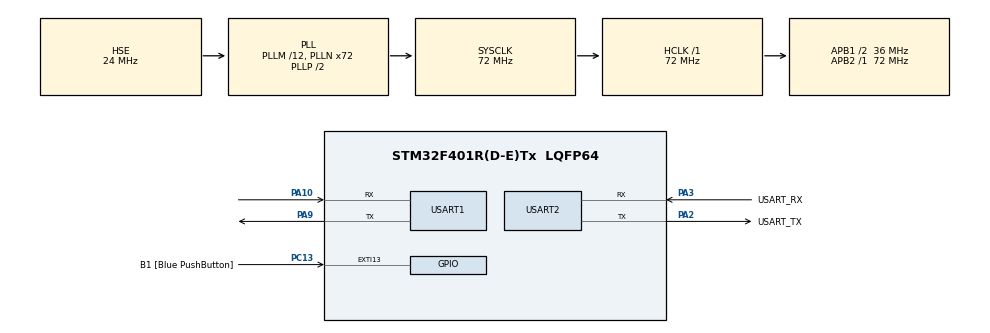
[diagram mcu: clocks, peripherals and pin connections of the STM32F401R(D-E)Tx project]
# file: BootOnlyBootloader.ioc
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Mcu.Family=STM32F4
Mcu.Name=STM32F401R(D-E)Tx
Mcu.Package=LQFP64
NVIC.PriorityGroup=NVIC_PRIORITYGROUP_4
PA10.Mode=Asynchronous
PA10.Signal=USART1_RX
PA13.GPIO_Label=TMS
PA13.Mode=Serial_Wire
PA13.Signal=SYS_JTMS-SWDIO
PA14.GPIO_Label=TCK
PA14.Mode=Serial_Wire
PA14.Signal=SYS_JTCK-SWCLK
PA2.GPIO_Label=USART_TX
PA2.GPIO_Mode=GPIO_MODE_AF_PP
PA2.GPIO_PuPd=GPIO_NOPULL
PA2.GPIO_Speed=GPIO_SPEED_FREQ_LOW
PA2.Mode=Asynchronous
PA2.Signal=USART2_TX
PA3.GPIO_Label=USART_RX
PA3.GPIO_Mode=GPIO_MODE_AF_PP
PA3.GPIO_PuPd=GPIO_NOPULL
PA3.GPIO_Speed=GPIO_SPEED_FREQ_LOW
PA3.Mode=Asynchronous
PA3.Signal=USART2_RX
PA9.Mode=Asynchronous
PA9.Signal=USART1_TX
PB3.GPIO_Label=SWO
PB3.Signal=SYS_JTDO-SWO
PC13-ANTI_TAMP.GPIO_Label=B1 [Blue PushButton]
PC13-ANTI_TAMP.GPIO_ModeDefaultEXTI=GPIO_MODE_IT_FALLING
PC13-ANTI_TAMP.GPIO_PuPd=GPIO_NOPULL
PC13-ANTI_TAMP.Signal=GPXTI13
PC14-OSC32_IN.Mode=LSE-External-Oscillator
PC14-OSC32_IN.Signal=RCC_OSC32_IN
PC15-OSC32_OUT.Mode=LSE-External-Oscillator
PC15-OSC32_OUT.Signal=RCC_OSC32_OUT
PH0\ -\ OSC_IN.Mode=HSE-External-Oscillator
PH0\ -\ OSC_IN.Signal=RCC_OSC_IN
PH1\ -\ OSC_OUT.Mode=HSE-External-Oscillator
PH1\ -\ OSC_OUT.Signal=RCC_OSC_OUT
ProjectManager.HeapSize=0x600
ProjectManager.StackSize=0x400
ProjectManager.TargetToolchain=STM32CubeIDE
RCC.48MHZClocksFreq_Value=20571428.57142857
RCC.AHBFreq_Value=72000000
RCC.APB1CLKDivider=RCC_HCLK_DIV2
RCC.APB1Freq_Value=36000000
RCC.APB1TimFreq_Value=72000000
RCC.APB2Freq_Value=72000000
RCC.APB2TimFreq_Value=72000000
RCC.CortexFreq_Value=72000000
RCC.HCLKFreq_Value=72000000
RCC.HSE_VALUE=24000000
RCC.HSI_VALUE=16000000
RCC.PLLM=12
RCC.PLLN=72
RCC.PLLQ=7
RCC.PLLSourceVirtual=RCC_PLLSOURCE_HSE
RCC.SYSCLKFreq_VALUE=72000000
RCC.SYSCLKSource=RCC_SYSCLKSOURCE_PLLCLK
RCC.VCOOutputFreq_Value=144000000
USART1.VirtualMode=VM_ASYNC
USART2.VirtualMode=VM_ASYNC
board=NUCLEO-F401RE

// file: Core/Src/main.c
/* USER CODE BEGIN Header */
/**
  ******************************************************************************
  * @file           : main.c
  * @brief          : Main program body - Boot-only bootloader
  ******************************************************************************
  * @attention
  *
  * Copyright (c) 2026 STMicroelectronics.
  * All rights reserved.
  *
  * This software is licensed under terms that can be found in the LICENSE file
  * in the root directory of this software component.
  * If no LICENSE file comes with this software, it is provided AS-IS.
  *
  ******************************************************************************
  */
/* USER CODE END Header */
#include "main.h"

/* USER CODE BEGIN Includes */
#include <string.h>
#include <stdio.h>
#include <stdbool.h>
#include "stm32f4xx_hal_flash.h"
#include "stm32f4xx_hal_flash_ex.h"
/* USER CODE END Includes */

/* USER CODE BEGIN PTD */

/* Bootloader metadata structure - 8-byte aligned */
typedef struct __attribute__((packed, aligned(8))) {
  char magic[8];           /* 0xdeadbeefcafebabe */
  char inverted_magic[8];  /* 0x2152411035014542 */
  char app_name[8];        /* Application name */
  char version[8];         /* Version string */
  uint8_t dest_address[4]; /* Destination flash sector address, little-endian */
  uint8_t size[4];         /* Application size including metadata, little-endian */
  char validation[8];      /* 0xffffffff00000000 */
  char invalidation[8];    /* 0x00ffffffffffffff */
  uint8_t  sha256[32];     /* SHA256 of sector from start to this field */
} AppMetadata_t;

/* USER CODE END PTD */

/* USER CODE BEGIN PD */

/* Bootloader debug output - set to 1 to enable diagnostic messages via USART1 */
#ifndef BOOTLOADER_DEBUG_ENABLE
#define BOOTLOADER_DEBUG_ENABLE  0
#endif

/* STM32F401RE flash sector addresses (sectors 1-7, sector 0 = bootloader) */
#define FLASH_BASE             0x08000000UL
#define APP_METADATA_MAGIC     "\xde\xad\xbe\xef\xca\xfe\xba\xbe"
#define APP_METADATA_INV_MAGIC "\x21\x52\x41\x10\x35\x01\x45\x42"
#define APP_METADATA_VALID     "\xff\xff\xff\xff\x00\x00\x00\x00"
#define APP_METADATA_INVALID   "\x00\x00\x00\x00\xff\xff\xff\xff"
#define APP_METADATA_FIELD_LEN 8

/* Sector start addresses and sizes for STM32F401RE */
static const struct {
  uint32_t start;
  uint32_t size;
} SECTOR_INFO[] = {
  { 0x08004000UL, 16*1024 },   /* Sector 1: 16KB */
  { 0x08008000UL, 16*1024 },   /* Sector 2: 16KB */
  { 0x0800C000UL, 16*1024 },   /* Sector 3: 16KB */
  { 0x08010000UL, 64*1024 },   /* Sector 4: 64KB */
  { 0x08020000UL, 128*1024 },  /* Sector 5: 128KB */
  { 0x08040000UL, 128*1024 },  /* Sector 6: 128KB */
  { 0x08060000UL, 128*1024 },  /* Sector 7: 128KB */
};

#define NUM_APP_SECTORS (sizeof(SECTOR_INFO)/sizeof(SECTOR_INFO[0]))

#define SECTOR_6_INDEX  5   /* SECTOR_INFO index for flash sector 6 */
#define STAGING_SECTOR_START  (SECTOR_INFO[SECTOR_6_INDEX].start)
#define STAGING_SECTOR_SIZE   (SECTOR_INFO[SECTOR_6_INDEX].size)

/* USER CODE END PD */

UART_HandleTypeDef huart1;
UART_HandleTypeDef huart2;

void SystemClock_Config(void);
static void MX_GPIO_Init(void);
static void MX_USART2_UART_Init(void);
static void MX_USART1_UART_Init(void);
/* USER CODE BEGIN PFP */

static void sha256_compute(const uint8_t *data, uint32_t len, uint8_t *digest);
static int bootloader_try_launch_app(void);
static void bootloader_jump_to_app(uint32_t app_base);
static int bootloader_handle_staging(void);

/* USER CODE END PFP */

/* USER CODE BEGIN 0 */

/*
 * Minimal SHA-256 implementation for bootloader digest verification.
 * Public domain, based on FIPS 180-2.
 */
static void sha256_compute(const uint8_t *data, uint32_t total_len, uint8_t *digest)
{
  static const uint32_t K[64] = {
    0x428a2f98,0x71374491,0xb5c0fbcf,0xe9b5dba5,0x3956c25b,0x59f111f1,0x923f82a4,0xab1c5ed5,
    0xd807aa98,0x12835b01,0x243185be,0x550c7dc3,0x72be5d74,0x80deb1fe,0x9bdc06a7,0xc19bf174,
    0xe49b69c1,0xefbe4786,0x0fc19dc6,0x240ca1cc,0x2de92c6f,0x4a7484aa,0x5cb0a9dc,0x76f988da,
    0x983e5152,0xa831c66d,0xb00327c8,0xbf597fc7,0xc6e00bf3,0xd5a79147,0x06ca6351,0x14292967,
    0x27b70a85,0x2e1b2138,0x4d2c6dfc,0x53380d13,0x650a7354,0x766a0abb,0x81c2c92e,0x92722c85,
    0xa2bfe8a1,0xa81a664b,0xc24b8b70,0xc76c51a3,0xd192e819,0xd6990624,0xf40e3585,0x106aa070,
    0x19a4c116,0x1e376c08,0x2748774c,0x34b0bcb5,0x391c0cb3,0x4ed8aa4a,0x5b9cca4f,0x682e6ff3,
    0x748f82ee,0x78a5636f,0x84c87814,0x8cc70208,0x90befffa,0xa4506ceb,0xbef9a3f7,0xc67178f2,
  };

  uint32_t H[8] = {
    0x6a09e667, 0xbb67ae85, 0x3c6ef372, 0xa54ff53a,
    0x510e527f, 0x9b05688c, 0x1f83d9ab, 0x5be0cd19,
  };

  uint32_t W[64];
  uint32_t a, b, c, d, e, f, g, h, T1, T2;
  uint32_t j;
  uint32_t len = total_len;

  /* Process full 512-bit blocks */
  while (len >= 64) {
    for (j = 0; j < 16; j++) {
      W[j] = ((uint32_t)data[0]<<24) | ((uint32_t)data[1]<<16) |
             ((uint32_t)data[2]<<8) | (uint32_t)data[3];
      data += 4;
    }
    for (j = 16; j < 64; j++) {
      uint32_t s0 = ((W[j-15]>>7)|(W[j-15]<<25)) ^ ((W[j-15]>>18)|(W[j-15]<<14)) ^ (W[j-15]>>3);
      uint32_t s1 = ((W[j-2]>>17)|(W[j-2]<<15)) ^ ((W[j-2]>>19)|(W[j-2]<<13)) ^ (W[j-2]>>10);
      W[j] = W[j-16] + s0 + W[j-7] + s1;
    }
    a = H[0]; b = H[1]; c = H[2]; d = H[3];
    e = H[4]; f = H[5]; g = H[6]; h = H[7];
    for (j = 0; j < 64; j++) {
      uint32_t S1 = ((e>>6)|(e<<26)) ^ ((e>>11)|(e<<21)) ^ ((e>>25)|(e<<7));
      uint32_t ch = (e & f) ^ ((~e) & g);
      T1 = h + S1 + ch + K[j] + W[j];
      uint32_t S0 = ((a>>2)|(a<<30)) ^ ((a>>13)|(a<<19)) ^ ((a>>22)|(a<<10));
      uint32_t maj = (a & b) ^ (a & c) ^ (b & c);
      T2 = S0 + maj;
      h = g; g = f; f = e; e = d + T1; d = c; c = b; b = a; a = T1 + T2;
    }
    H[0] += a; H[1] += b; H[2] += c; H[3] += d;
    H[4] += e; H[5] += f; H[6] += g; H[7] += h;
    len -= 64;
  }

  /* Final block with padding */
  uint8_t block[64];
  uint32_t i;
  for (i = 0; i < len; i++) block[i] = data[i];
  block[len++] = 0x80;
  if (len > 56) {
    while (len < 64) block[len++] = 0;
    for (j = 0; j < 16; j++) {
      W[j] = ((uint32_t)block[j*4]<<24) | ((uint32_t)block[j*4+1]<<16) |
             ((uint32_t)block[j*4+2]<<8) | (uint32_t)block[j*4+3];
    }
    for (j = 16; j < 64; j++) {
      uint32_t s0 = ((W[j-15]>>7)|(W[j-15]<<25)) ^ ((W[j-15]>>18)|(W[j-15]<<14)) ^ (W[j-15]>>3);
      uint32_t s1 = ((W[j-2]>>17)|(W[j-2]<<15)) ^ ((W[j-2]>>19)|(W[j-2]<<13)) ^ (W[j-2]>>10);
      W[j] = W[j-16] + s0 + W[j-7] + s1;
    }
    a = H[0]; b = H[1]; c = H[2]; d = H[3];
    e = H[4]; f = H[5]; g = H[6]; h = H[7];
    for (j = 0; j < 64; j++) {
      uint32_t S1 = ((e>>6)|(e<<26)) ^ ((e>>11)|(e<<21)) ^ ((e>>25)|(e<<7));
      uint32_t ch = (e & f) ^ ((~e) & g);
      T1 = h + S1 + ch + K[j] + W[j];
      uint32_t S0 = ((a>>2)|(a<<30)) ^ ((a>>13)|(a<<19)) ^ ((a>>22)|(a<<10));
      uint32_t maj = (a & b) ^ (a & c) ^ (b & c);
      T2 = S0 + maj;
      h = g; g = f; f = e; e = d + T1; d = c; c = b; b = a; a = T1 + T2;
    }
    H[0] += a; H[1] += b; H[2] += c; H[3] += d;
    H[4] += e; H[5] += f; H[6] += g; H[7] += h;
    len = 0;
  }
  while (len < 56) block[len++] = 0;
  /* Append length in bits, big-endian */
  {
    uint64_t bitlen = (uint64_t)total_len * 8;
    for (i = 0; i < 8; i++) block[63 - i] = (uint8_t)(bitlen >> (i * 8));
  }
  for (j = 0; j < 16; j++) {
    W[j] = ((uint32_t)block[j*4]<<24) | ((uint32_t)block[j*4+1]<<16) |
           ((uint32_t)block[j*4+2]<<8) | (uint32_t)block[j*4+3];
  }
  for (j = 16; j < 64; j++) {
    uint32_t s0 = ((W[j-15]>>7)|(W[j-15]<<25)) ^ ((W[j-15]>>18)|(W[j-15]<<14)) ^ (W[j-15]>>3);
    uint32_t s1 = ((W[j-2]>>17)|(W[j-2]<<15)) ^ ((W[j-2]>>19)|(W[j-2]<<13)) ^ (W[j-2]>>10);
    W[j] = W[j-16] + s0 + W[j-7] + s1;
  }
  a = H[0]; b = H[1]; c = H[2]; d = H[3];
  e = H[4]; f = H[5]; g = H[6]; h = H[7];
  for (j = 0; j < 64; j++) {
    uint32_t S1 = ((e>>6)|(e<<26)) ^ ((e>>11)|(e<<21)) ^ ((e>>25)|(e<<7));
    uint32_t ch = (e & f) ^ ((~e) & g);
    T1 = h + S1 + ch + K[j] + W[j];
    uint32_t S0 = ((a>>2)|(a<<30)) ^ ((a>>13)|(a<<19)) ^ ((a>>22)|(a<<10));
    uint32_t maj = (a & b) ^ (a & c) ^ (b & c);
    T2 = S0 + maj;
    h = g; g = f; f = e; e = d + T1; d = c; c = b; b = a; a = T1 + T2;
  }
  H[0] += a; H[1] += b; H[2] += c; H[3] += d;
  H[4] += e; H[5] += f; H[6] += g; H[7] += h;

  for (j = 0; j < 8; j++) {
    digest[j*4 + 0] = (uint8_t)(H[j] >> 24);
    digest[j*4 + 1] = (uint8_t)(H[j] >> 16);
    digest[j*4 + 2] = (uint8_t)(H[j] >> 8);
    digest[j*4 + 3] = (uint8_t)(H[j]);
  }
}

/* Map flash address to sector number for STM32F401RE */
static uint32_t flash_addr_to_sector(uint32_t addr)
{
  if (addr < 0x08004000UL) return FLASH_SECTOR_0;
  if (addr < 0x08008000UL) return FLASH_SECTOR_1;
  if (addr < 0x0800C000UL) return FLASH_SECTOR_2;
  if (addr < 0x08010000UL) return FLASH_SECTOR_3;
  if (addr < 0x08020000UL) return FLASH_SECTOR_4;
  if (addr < 0x08040000UL) return FLASH_SECTOR_5;
  if (addr < 0x08060000UL) return FLASH_SECTOR_6;
  return FLASH_SECTOR_7;
}

/* Check sector 6 for staging metadata; if found, copy app to destination, update validation, erase sector 6, reboot. */
/* Returns 1 if staging was handled (never returns - reboots), 0 if no staging metadata found. */
static int bootloader_handle_staging(void)
{
  const uint8_t *sector6 = (const uint8_t *)STAGING_SECTOR_START;

  /* Search sector 6 for metadata with magic and inverted_magic only */
#if BOOTLOADER_DEBUG_ENABLE
  {
    char dbg_msg[128];
    int len = sprintf(dbg_msg, "Checking sector starting at %p\r\n", sector6);
    HAL_UART_Transmit(&huart1, (uint8_t*)dbg_msg, len, 1000);
  }
#endif

  for (uint32_t offset = 0; offset + sizeof(AppMetadata_t) <= STAGING_SECTOR_SIZE; offset += 8) {
    const AppMetadata_t *meta = (const AppMetadata_t *)(sector6 + offset);

    if (memcmp(meta->magic, APP_METADATA_MAGIC, APP_METADATA_FIELD_LEN) != 0) continue;

#if BOOTLOADER_DEBUG_ENABLE
  {
    char dbg_msg[128];
    int len = sprintf(dbg_msg, "Magic number found at %p\r\n", meta->magic);
    HAL_UART_Transmit(&huart1, (uint8_t*)dbg_msg, len, 1000);
  }
#endif

    if (memcmp(meta->inverted_magic, APP_METADATA_INV_MAGIC, APP_METADATA_FIELD_LEN) != 0) continue;

#if BOOTLOADER_DEBUG_ENABLE
  {
    char dbg_msg[128];
    int len = sprintf(dbg_msg, "Inverted Magic number found at %p\r\n", meta->inverted_magic);
    HAL_UART_Transmit(&huart1, (uint8_t*)dbg_msg, len, 1000);
  }
#endif

    /* Staging metadata found - extract dest_address and size (little-endian) */
    uint32_t dest_addr = (uint32_t)meta->dest_address[0] | ((uint32_t)meta->dest_address[1] << 8) |
                         ((uint32_t)meta->dest_address[2] << 16) | ((uint32_t)meta->dest_address[3] << 24);
    uint32_t app_size = (uint32_t)meta->size[0] | ((uint32_t)meta->size[1] << 8) |
                        ((uint32_t)meta->size[2] << 16) | ((uint32_t)meta->size[3] << 24);

#if BOOTLOADER_DEBUG_ENABLE
  {
    char dbg_msg[128];
    int len = sprintf(dbg_msg, "Destination %p size %lu\r\n", (void*) dest_addr, app_size);
    HAL_UART_Transmit(&huart1, (uint8_t*)dbg_msg, len, 1000);
  }
#endif

    /* Validate destination is within app sectors (1-7) and not sector 6 (source) */
    if (dest_addr < 0x08004000UL || dest_addr > 0x0807FFFFUL) continue;
    if (dest_addr >= 0x08040000UL && dest_addr < 0x08060000UL) continue;  /* reject sector 6 */
    if (app_size == 0 || app_size > STAGING_SECTOR_SIZE) continue;

    /* Erase destination sector */
    uint32_t sector_num = flash_addr_to_sector(dest_addr);

    #if BOOTLOADER_DEBUG_ENABLE
	{
		char dbg_msg[128];
		int len = sprintf(dbg_msg, "Erasing destination (sector %lu)\r\n", sector_num);
		HAL_UART_Transmit(&huart1, (uint8_t*)dbg_msg, len, 1000);
	}
#endif

    /* Erase destination sector */
    FLASH_EraseInitTypeDef erase = {
      .TypeErase = FLASH_TYPEERASE_SECTORS,
      .Banks = FLASH_BANK_1,
      .Sector = sector_num,
      .NbSectors = 1,
      .VoltageRange = FLASH_VOLTAGE_RANGE_3,
    };
    uint32_t sector_error;

    HAL_FLASH_Unlock();

    /* Clear any pending error flags before erase */
    __HAL_FLASH_CLEAR_FLAG(FLASH_FLAG_EOP | FLASH_FLAG_OPERR | FLASH_FLAG_WRPERR |
                           FLASH_FLAG_PGAERR | FLASH_FLAG_PGPERR | FLASH_FLAG_PGSERR);

    /* Ensure flash is not busy before erase */
    while (__HAL_FLASH_GET_FLAG(FLASH_FLAG_BSY) != RESET) {
      /* Wait for any pending flash operations to complete */
    }

    if (HAL_FLASHEx_Erase(&erase, &sector_error) != HAL_OK) {
      HAL_FLASH_Lock();
#if BOOTLOADER_DEBUG_ENABLE
  {
    char dbg_msg[128];
    uint32_t error = HAL_FLASH_GetError();
    int len = sprintf(dbg_msg, "Erasing destination FAILED: error=0x%08lX, sector_error=0x%08lX\r\n",
                      (unsigned long)error, (unsigned long)sector_error);
    HAL_UART_Transmit(&huart1, (uint8_t*)dbg_msg, len, 1000);
  }
#endif
      continue;
    }

    /* Verify erase completed and flash is ready */
    uint32_t erase_timeout = 100000;
    while (__HAL_FLASH_GET_FLAG(FLASH_FLAG_BSY) != RESET && erase_timeout--) {
      /* Wait for erase to complete */
    }

    /* Clear ALL error flags after erase */
    __HAL_FLASH_CLEAR_FLAG(FLASH_FLAG_EOP | FLASH_FLAG_OPERR | FLASH_FLAG_WRPERR |
                           FLASH_FLAG_PGAERR | FLASH_FLAG_PGPERR | FLASH_FLAG_PGSERR);

    /* Clear PG bit if it's set */
    CLEAR_BIT(FLASH->CR, FLASH_CR_PG);

    /* Wait for everything to settle */
    __DSB();
    volatile uint32_t settle_delay = 100;
    while (settle_delay--) { __NOP(); }

    /* Verify flash is unlocked and ready */
    if (READ_BIT(FLASH->CR, FLASH_CR_LOCK) != RESET) {
      /* Flash got locked somehow - unlock it again */
      HAL_FLASH_Unlock();
    }

    /* Verify erase was successful by checking first few bytes are 0xFF */
    const uint32_t *verify_addr = (const uint32_t *)dest_addr;
    if (verify_addr[0] != 0xFFFFFFFF || verify_addr[1] != 0xFFFFFFFF) {
      HAL_FLASH_Lock();
#if BOOTLOADER_DEBUG_ENABLE
  {
    char dbg_msg[128];
    int len = sprintf(dbg_msg, "Erase verification FAILED: 0x%08lX 0x%08lX (expected 0xFFFFFFFF)\r\n",
                      (unsigned long)verify_addr[0], (unsigned long)verify_addr[1]);
    HAL_UART_Transmit(&huart1, (uint8_t*)dbg_msg, len, 1000);
  }
#endif
      continue;
    }

#if BOOTLOADER_DEBUG_ENABLE
  {
    char dbg_msg[128];
    int len = sprintf(dbg_msg, "Erase completed and verified, flash ready, CR=0x%08lX, SR=0x%08lX\r\n",
                      (unsigned long)FLASH->CR, (unsigned long)FLASH->SR);
    HAL_UART_Transmit(&huart1, (uint8_t*)dbg_msg, len, 1000);
  }
#endif

#if BOOTLOADER_DEBUG_ENABLE
  {
    char dbg_msg[128];
    int len = sprintf(dbg_msg, "Copying found application to destination\r\n");
    HAL_UART_Transmit(&huart1, (uint8_t*)dbg_msg, len, 1000);
  }
#endif

    /* Copy application from sector 6 to destination (8 bytes at a time for doubleword alignment) */
    /* Ensure destination address is 8-byte aligned for doubleword programming */
    if ((dest_addr & 7) != 0) {
      HAL_FLASH_Lock();
#if BOOTLOADER_DEBUG_ENABLE
  {
    char dbg_msg[128];
    int len = sprintf(dbg_msg, "Destination address not 8-byte aligned: %p\r\n", (void*)dest_addr);
    HAL_UART_Transmit(&huart1, (uint8_t*)dbg_msg, len, 1000);
  }
#endif
      continue;
    }

    /* Disable instruction cache and prefetch buffer to prevent read-while-write conflicts.
       The cache and prefetch can cause the first flash program operation to fail if
       they're trying to read cached/prefetched data while programming. */
    __HAL_FLASH_INSTRUCTION_CACHE_DISABLE();
    __HAL_FLASH_INSTRUCTION_CACHE_RESET();
    __HAL_FLASH_PREFETCH_BUFFER_DISABLE();
    __DSB(); /* Ensure cache operations complete before proceeding */
    __ISB(); /* Ensure instruction pipeline is flushed */

    /* Ensure flash is still unlocked before starting */
    if (READ_BIT(FLASH->CR, FLASH_CR_LOCK) != RESET) {
      HAL_FLASH_Unlock();
    }

    /* Aggressively clear flash controller state before starting programming */
    /* Wait for BSY to clear */
    uint32_t ready_timeout = 100000;
    while (__HAL_FLASH_GET_FLAG(FLASH_FLAG_BSY) != RESET && ready_timeout--) {
      /* Wait for any pending flash operations to complete */
    }

    /* Clear PG bit */
    CLEAR_BIT(FLASH->CR, FLASH_CR_PG);

    /* Clear ALL error flags */
    __HAL_FLASH_CLEAR_FLAG(FLASH_FLAG_EOP | FLASH_FLAG_OPERR | FLASH_FLAG_WRPERR |
                           FLASH_FLAG_PGAERR | FLASH_FLAG_PGPERR | FLASH_FLAG_PGSERR);

    /* Wait for everything to settle */
    __DSB();
    __ISB();
    volatile uint32_t delay = 200;
    while (delay--) { __NOP(); }

    /* Verify flash is in clean state */
    if (__HAL_FLASH_GET_FLAG(FLASH_FLAG_BSY) != RESET ||
        READ_BIT(FLASH->CR, FLASH_CR_PG) != RESET) {
#if BOOTLOADER_DEBUG_ENABLE
      {
        char dbg_msg[128];
        int len = sprintf(dbg_msg, "ERROR: Flash not in clean state before copy: CR=0x%08lX, SR=0x%08lX\r\n",
                          (unsigned long)FLASH->CR, (unsigned long)FLASH->SR);
        HAL_UART_Transmit(&huart1, (uint8_t*)dbg_msg, len, 1000);
      }
#endif
      HAL_FLASH_Lock();
      continue;
    }

    /* Copy source data from flash to RAM buffer in chunks to avoid read-while-write conflicts.
       The STM32F4 flash controller may not handle simultaneous read and write operations
       even when they target different sectors. Reading from flash while programming
       flash can cause the first program operation to fail. We use a 4096-byte buffer
       and process the copy in chunks to avoid using too much RAM.
       Use static to avoid stack overflow issues. */
    #define COPY_CHUNK_SIZE 4096
    static uint8_t ram_buffer[COPY_CHUNK_SIZE];

    /* Destination must be 4-byte aligned for WORD programming on STM32F401 */
    if ((dest_addr & 3) != 0) {
#if BOOTLOADER_DEBUG_ENABLE
      {
        char dbg_msg[128];
        int len = sprintf(dbg_msg, "ERROR: Destination address 0x%08lX is not 4-byte aligned\r\n",
                          (unsigned long)dest_addr);
        HAL_UART_Transmit(&huart1, (uint8_t*)dbg_msg, len, 1000);
      }
#endif
      HAL_FLASH_Lock();
      continue;
    }

#if BOOTLOADER_DEBUG_ENABLE
  {
    char dbg_msg[128];
    int len = sprintf(dbg_msg, "Starting copy: dest=0x%08lX, size=%lu, flash CR=0x%08lX\r\n",
                      (unsigned long)dest_addr, (unsigned long)app_size, (unsigned long)FLASH->CR);
    HAL_UART_Transmit(&huart1, (uint8_t*)dbg_msg, len, 1000);
  }
#endif

    uint32_t dst = dest_addr;
    int copy_ok = true;

    /* Process the copy in chunks of up to 4096 bytes */
    for (uint32_t offset = 0; offset < app_size && copy_ok; offset += COPY_CHUNK_SIZE) {
      uint32_t chunk_size = (offset + COPY_CHUNK_SIZE <= app_size) ? COPY_CHUNK_SIZE : (app_size - offset);

      /* Copy chunk from flash to RAM buffer */
      memcpy(ram_buffer, sector6 + offset, chunk_size);
      __DSB(); /* Ensure memory copy completes before proceeding */

      /* Program this chunk from RAM buffer to flash destination using WORD writes */
      const uint8_t *src = ram_buffer;
      uint32_t full_words = chunk_size / 4U;
      uint32_t rem = chunk_size % 4U;

      for (uint32_t w = 0; w < full_words && copy_ok; w++) {
        uint32_t addr = dst + offset + (w * 4U);
        uint32_t data_word =
            ((uint32_t)src[w * 4U + 0U] << 0)  |
            ((uint32_t)src[w * 4U + 1U] << 8)  |
            ((uint32_t)src[w * 4U + 2U] << 16) |
            ((uint32_t)src[w * 4U + 3U] << 24);

#if BOOTLOADER_DEBUG_ENABLE
        if (offset == 0 && w == 0) {
          char dbg_msg[128];
          int len = sprintf(dbg_msg, "First word: addr=0x%08lX data=0x%08lX bytes=%02X%02X%02X%02X\r\n",
                            (unsigned long)addr, (unsigned long)data_word,
                            src[0], src[1], src[2], src[3]);
          HAL_UART_Transmit(&huart1, (uint8_t*)dbg_msg, len, 1000);
        }
#endif

        __disable_irq();
        HAL_SuspendTick();
        HAL_StatusTypeDef status = HAL_FLASH_Program(FLASH_TYPEPROGRAM_WORD, addr, data_word);
        HAL_ResumeTick();
        __enable_irq();

        if (status != HAL_OK) {
          copy_ok = false;
#if BOOTLOADER_DEBUG_ENABLE
          {
            char dbg_msg[160];
            uint32_t error = HAL_FLASH_GetError();
            uint32_t flash_sr = FLASH->SR;
            int len = sprintf(dbg_msg, "FLASH WORD Program FAILED: status=%d error=0x%08lX SR=0x%08lX addr=0x%08lX\r\n",
                              status, (unsigned long)error, (unsigned long)flash_sr, (unsigned long)addr);
            HAL_UART_Transmit(&huart1, (uint8_t*)dbg_msg, len, 1000);
          }
#endif
        }
      }

      /* Trailing bytes within this chunk */
      if (rem && copy_ok) {
        uint32_t tail_addr = dst + offset + (full_words * 4U);
        uint32_t base = full_words * 4U;

        if (rem >= 2U) {
          uint16_t half = (uint16_t)src[base + 0U] | ((uint16_t)src[base + 1U] << 8);
          __disable_irq();
          HAL_SuspendTick();
          HAL_StatusTypeDef status = HAL_FLASH_Program(FLASH_TYPEPROGRAM_HALFWORD, tail_addr, half);
          HAL_ResumeTick();
          __enable_irq();
          if (status != HAL_OK) copy_ok = false;
          tail_addr += 2U;
          base += 2U;
          rem -= 2U;
        }
        if (rem == 1U && copy_ok) {
          uint8_t b = src[base];
          __disable_irq();
          HAL_SuspendTick();
          HAL_StatusTypeDef status = HAL_FLASH_Program(FLASH_TYPEPROGRAM_BYTE, tail_addr, b);
          HAL_ResumeTick();
          __enable_irq();
          if (status != HAL_OK) copy_ok = false;
        }
      }
    }

    /* Re-enable instruction cache and prefetch buffer after programming */
    __DSB(); /* Ensure all flash operations complete before re-enabling cache */
    __HAL_FLASH_INSTRUCTION_CACHE_ENABLE();
    __HAL_FLASH_PREFETCH_BUFFER_ENABLE();

    if (!copy_ok) {
      HAL_FLASH_Lock();
#if BOOTLOADER_DEBUG_ENABLE
  {
    char dbg_msg[128];
    int len = sprintf(dbg_msg, "Copying application FAILED\r\n");
    HAL_UART_Transmit(&huart1, (uint8_t*)dbg_msg, len, 1000);
  }
#endif
      continue;
    }

#if BOOTLOADER_DEBUG_ENABLE
  {
    char dbg_msg[128];
    int len = sprintf(dbg_msg, "Setting validation flag to valid\r\n");
    HAL_UART_Transmit(&huart1, (uint8_t*)dbg_msg, len, 1000);
  }
#endif

    /* Rewrite validation flag at destination metadata.
       On STM32F401, use 32-bit WORD programming (avoid DOUBLEWORD). */
    uint32_t validation_addr = dest_addr + offset + (uint32_t)offsetof(AppMetadata_t, validation);
    if ((validation_addr & 3U) != 0U) {
      HAL_FLASH_Lock();
#if BOOTLOADER_DEBUG_ENABLE
      {
        char dbg_msg[128];
        int len = sprintf(dbg_msg, "Setting validation flag FAILED (addr not 4-byte aligned): 0x%08lX\r\n",
                          (unsigned long)validation_addr);
        HAL_UART_Transmit(&huart1, (uint8_t*)dbg_msg, len, 1000);
      }
#endif
      continue;
    }

    /* Desired bytes in flash: FF FF FF FF 00 00 00 00 */
    uint32_t validation_word0 = 0xFFFFFFFFU;
    uint32_t validation_word1 = 0x00000000U;

    __disable_irq();
    HAL_SuspendTick();
    HAL_StatusTypeDef v0 = HAL_FLASH_Program(FLASH_TYPEPROGRAM_WORD, validation_addr + 0U, validation_word0);
    HAL_StatusTypeDef v1 = HAL_OK;
    if (v0 == HAL_OK) {
      v1 = HAL_FLASH_Program(FLASH_TYPEPROGRAM_WORD, validation_addr + 4U, validation_word1);
    }
    HAL_ResumeTick();
    __enable_irq();

    if (v0 != HAL_OK || v1 != HAL_OK) {
      HAL_FLASH_Lock();

      #if BOOTLOADER_DEBUG_ENABLE
  {
    char dbg_msg[128];
    uint32_t error = HAL_FLASH_GetError();
    int len = sprintf(dbg_msg, "Setting validation flag FAILED (v0=%d v1=%d err=0x%08lX addr=0x%08lX)\r\n",
                      (int)v0, (int)v1, (unsigned long)error, (unsigned long)validation_addr);
    HAL_UART_Transmit(&huart1, (uint8_t*)dbg_msg, len, 1000);
  }
#endif

      continue;
    }

#if BOOTLOADER_DEBUG_ENABLE
  {
    char dbg_msg[128];
    int len = sprintf(dbg_msg, "Erasing staging sector %d\r\n", FLASH_SECTOR_6);
    HAL_UART_Transmit(&huart1, (uint8_t*)dbg_msg, len, 1000);
  }
#endif

    /* Erase sector 6 */
    FLASH_EraseInitTypeDef erase6 = {
      .TypeErase = FLASH_TYPEERASE_SECTORS,
      .Banks = FLASH_BANK_1,
      .Sector = FLASH_SECTOR_6,
      .NbSectors = 1,
      .VoltageRange = FLASH_VOLTAGE_RANGE_3,
    };
    if (HAL_FLASHEx_Erase(&erase6, &sector_error) != HAL_OK)
    {
#if BOOTLOADER_DEBUG_ENABLE
	  {
		char dbg_msg[128];
		int len = sprintf(dbg_msg, "Erasing staging sectoFAILED\r\n");
		HAL_UART_Transmit(&huart1, (uint8_t*)dbg_msg, len, 1000);
	  }
#endif
    }
    HAL_FLASH_Lock();

    /* Reboot */
    HAL_NVIC_SystemReset();
    /* never returns */
  }
  return 0;
}

/* Search for valid application and launch. Returns 1 if launched (never returns), 0 if not found. */
static int bootloader_try_launch_app(void)
{
  for (uint32_t s = 0; s < NUM_APP_SECTORS; s++) {
    const uint32_t sector_start = SECTOR_INFO[s].start;
    const uint32_t sector_size = SECTOR_INFO[s].size;
    const uint8_t *sector = (const uint8_t *)sector_start;

#if BOOTLOADER_DEBUG_ENABLE
  {
    char dbg_msg[128];
    int len = sprintf(dbg_msg, "Checking sector starting at %p\r\n", sector);
    HAL_UART_Transmit(&huart1, (uint8_t*)dbg_msg, len, 1000);
  }
#endif

    /* Search for metadata at 8-byte aligned offsets */
    for (uint32_t offset = 0; offset + sizeof(AppMetadata_t) <= sector_size; offset += 8) {
      const AppMetadata_t *meta = (const AppMetadata_t *)(sector + offset);

      if (memcmp(meta->magic, APP_METADATA_MAGIC, APP_METADATA_FIELD_LEN) != 0) continue;

#if BOOTLOADER_DEBUG_ENABLE
  {
    char dbg_msg[128];
    int len = sprintf(dbg_msg, "Magic number found at %p\r\n", meta->magic);
    HAL_UART_Transmit(&huart1, (uint8_t*)dbg_msg, len, 1000);
  }
#endif

      if (memcmp(meta->inverted_magic, APP_METADATA_INV_MAGIC, APP_METADATA_FIELD_LEN) != 0) continue;

#if BOOTLOADER_DEBUG_ENABLE
  {
    char dbg_msg[128];
    int len = sprintf(dbg_msg, "Inverted Magic number found at %p\r\n", meta->inverted_magic);
    HAL_UART_Transmit(&huart1, (uint8_t*)dbg_msg, len, 1000);
  }
#endif

      if (memcmp(meta->validation, APP_METADATA_VALID, APP_METADATA_FIELD_LEN) != 0) continue;

#if BOOTLOADER_DEBUG_ENABLE
  {
    char dbg_msg[128];
    int len = sprintf(dbg_msg, "Validation found at %p\r\n", meta->validation);
    HAL_UART_Transmit(&huart1, (uint8_t*)dbg_msg, len, 1000);
  }
#endif

      if (memcmp(meta->invalidation, APP_METADATA_INVALID, APP_METADATA_FIELD_LEN) != 0) continue;

#if BOOTLOADER_DEBUG_ENABLE
  {
    char dbg_msg[128];
    int len = sprintf(dbg_msg, "Invalidation found at %p\r\n", meta->invalidation);
    HAL_UART_Transmit(&huart1, (uint8_t*)dbg_msg, len, 1000);
  }
#endif

      /* Metadata found - verify SHA256: sector from start up to (but not including) digest field */
      uint32_t hash_len = offset + (uint32_t)offsetof(AppMetadata_t, sha256);
      uint8_t computed[32];
      sha256_compute(sector, hash_len, computed);

#if BOOTLOADER_DEBUG_ENABLE
  {
    char dbg_msg[128];
    int len = sprintf(dbg_msg, "Hash_len %lu\r\n", hash_len);
    HAL_UART_Transmit(&huart1, (uint8_t*)dbg_msg, len, 1000);
    len = sprintf(dbg_msg, "Computed hash ");
    for (int hash_byte = 0; hash_byte < 32; ++hash_byte)
    {
    	sprintf(dbg_msg + strlen(dbg_msg), "%02x", (uint8_t) computed[hash_byte]);
    }
    sprintf(dbg_msg + strlen(dbg_msg), "\r\n");
    HAL_UART_Transmit(&huart1, (uint8_t*)dbg_msg, strlen(dbg_msg), 1000);
    len = sprintf(dbg_msg, "Stored hash   ");
    for (int hash_byte = 0; hash_byte < 32; ++hash_byte)
    {
    	sprintf(dbg_msg + strlen(dbg_msg), "%02x", (uint8_t) meta->sha256[hash_byte]);
    }
    sprintf(dbg_msg + strlen(dbg_msg), "\r\n");
    HAL_UART_Transmit(&huart1, (uint8_t*)dbg_msg, strlen(dbg_msg), 1000);
  }
#endif

  int match = 1;
      for (int i = 0; i < 32; i++) {
        if (computed[i] != meta->sha256[i]) { match = 0; break; }
      }
      if (!match) continue;

      /* Valid application found - sector starts with Cortex-M4 vector table */
      bootloader_jump_to_app(sector_start);
      /* never returns */
    }
  }
  return 0;
}

static void bootloader_jump_to_app(uint32_t app_base)
{
  const uint32_t *vt = (const uint32_t *)app_base;
  uint32_t msp = vt[0];
  uint32_t reset_handler = vt[1];

  /* Diagnostic: Print vector table values before jump */
#if BOOTLOADER_DEBUG_ENABLE
  {
    char dbg_msg[128];
    int len = sprintf(dbg_msg, "Jump: base=0x%08lX, MSP=0x%08lX, Reset=0x%08lX\r\n",
                      (unsigned long)app_base, (unsigned long)msp, (unsigned long)reset_handler);
    HAL_UART_Transmit(&huart1, (uint8_t*)dbg_msg, len, 1000);
  }
#endif

  /* Validate vector table values */
  if (msp < 0x20000000 || msp > 0x20018000) {
#if BOOTLOADER_DEBUG_ENABLE
    {
      char dbg_msg[128];
      int len = sprintf(dbg_msg, "ERROR: Invalid MSP=0x%08lX\r\n", (unsigned long)msp);
      HAL_UART_Transmit(&huart1, (uint8_t*)dbg_msg, len, 1000);
    }
#endif
    return;
  }

  if ((reset_handler & 1) == 0) {
#if BOOTLOADER_DEBUG_ENABLE
    {
      char dbg_msg[128];
      int len = sprintf(dbg_msg, "ERROR: Reset handler missing thumb bit\r\n");
      HAL_UART_Transmit(&huart1, (uint8_t*)dbg_msg, len, 1000);
    }
#endif
    return;
  }

  /* Deinitialize peripherals before jumping to application */
  HAL_UART_DeInit(&huart1);
  HAL_UART_DeInit(&huart2);
  HAL_GPIO_DeInit(GPIOC, B1_Pin|GPIO_PIN_0|GPIO_PIN_1|GPIO_PIN_2|GPIO_PIN_3|GPIO_PIN_4|GPIO_PIN_5|
                        GPIO_PIN_6|GPIO_PIN_7|GPIO_PIN_8|GPIO_PIN_9|GPIO_PIN_10|GPIO_PIN_11|GPIO_PIN_12);
  HAL_GPIO_DeInit(GPIOA, GPIO_PIN_0|GPIO_PIN_1|GPIO_PIN_4|GPIO_PIN_5|GPIO_PIN_6|GPIO_PIN_7|
                        GPIO_PIN_8|GPIO_PIN_9|GPIO_PIN_10|GPIO_PIN_11|GPIO_PIN_12|GPIO_PIN_15);
  HAL_GPIO_DeInit(GPIOB, GPIO_PIN_0|GPIO_PIN_1|GPIO_PIN_2|GPIO_PIN_4|GPIO_PIN_5|GPIO_PIN_6|
                        GPIO_PIN_7|GPIO_PIN_8|GPIO_PIN_9|GPIO_PIN_10|GPIO_PIN_12|GPIO_PIN_13|
                        GPIO_PIN_14|GPIO_PIN_15);
  HAL_GPIO_DeInit(GPIOD, GPIO_PIN_2);

  /* Reset RCC to default state (HSI) so application can configure clocks cleanly */
  /* This prevents clock configuration conflicts when app tries to reconfigure */
  /* The bootloader has configured HSE+PLL, but well-monitor-2 needs to configure */
  /* its own clocks including LSE. Switching to HSI gives a clean starting state. */

#if BOOTLOADER_DEBUG_ENABLE
  {
    char dbg_msg[128];
    int len = sprintf(dbg_msg, "Resetting clocks to HSI...\r\n");
    HAL_UART_Transmit(&huart1, (uint8_t*)dbg_msg, len, 1000);
  }
#endif

  /* Ensure HSI is enabled (should be by default, but make sure) */
  __HAL_RCC_HSI_ENABLE();
  while(__HAL_RCC_GET_FLAG(RCC_FLAG_HSIRDY) == RESET) {}

  /* Switch system clock to HSI */
  __HAL_RCC_SYSCLK_CONFIG(RCC_SYSCLKSOURCE_HSI);
  while(__HAL_RCC_GET_SYSCLK_SOURCE() != RCC_SYSCLKSOURCE_STATUS_HSI) {}

  /* Now safe to disable PLL and HSE - system is running on HSI */
  __HAL_RCC_PLL_DISABLE();
  __HAL_RCC_HSE_CONFIG(RCC_HSE_OFF);

  /* Wait for HSE to be disabled */
  uint32_t tickstart = HAL_GetTick();
  while(__HAL_RCC_GET_FLAG(RCC_FLAG_HSERDY) != RESET) {
    if ((HAL_GetTick() - tickstart) > 1000) {  /* 1 second timeout */
      break;
    }
  }

  /* Set flash latency for HSI (16MHz) - latency 0 is sufficient */
  FLASH->ACR = (FLASH->ACR & ~FLASH_ACR_LATENCY) | FLASH_LATENCY_0;

#if BOOTLOADER_DEBUG_ENABLE
  {
    char dbg_msg[128];
    int len = sprintf(dbg_msg, "Clocks reset, jumping to app...\r\n");
    HAL_UART_Transmit(&huart1, (uint8_t*)dbg_msg, len, 1000);
  }
#endif

  /* Reset RCC to default state - this ensures clean clock state for application */
  /* HSI remains enabled as it's the default and app may need it during init */

  __disable_irq();
  __DSB();
  __ISB();

  SCB->VTOR = app_base;
  __set_MSP(msp);

  ((void (*)(void))reset_handler)();
}

/* USER CODE END 0 */

int main(void)
{

  /* MCU Configuration--------------------------------------------------------*/

  /* Reset of all peripherals, Initializes the Flash interface and the Systick. */
  HAL_Init();

  /* Configure the system clock */
  SystemClock_Config();

  /* Initialize all configured peripherals */
  MX_GPIO_Init();
  MX_USART2_UART_Init();
  MX_USART1_UART_Init();
  /* USER CODE BEGIN 2 */

  /* First check sector 6 for staging metadata; if found, copy to dest, erase sector 6, reboot */
  if (bootloader_handle_staging()) {
    /* Never returns - reboots */
  }

  /* Bootloader: search sectors 1-7 for application and launch */
  if (bootloader_try_launch_app()) {
    /* Never returns if app launched */
  }

  /* USER CODE END 2 */

  /* Infinite loop */
  while (1)
  {

  }
}

void SystemClock_Config(void)
{
  RCC_OscInitTypeDef RCC_OscInitStruct = {0};
  RCC_ClkInitTypeDef RCC_ClkInitStruct = {0};

  /** Configure the main internal regulator output voltage
  */
  __HAL_RCC_PWR_CLK_ENABLE();
  __HAL_PWR_VOLTAGESCALING_CONFIG(PWR_REGULATOR_VOLTAGE_SCALE2);

  /** Initializes the RCC Oscillators according to the specified parameters
  * in the RCC_OscInitTypeDef structure.
  */
  RCC_OscInitStruct.OscillatorType = RCC_OSCILLATORTYPE_HSE;
  RCC_OscInitStruct.HSEState = RCC_HSE_ON;
  RCC_OscInitStruct.PLL.PLLState = RCC_PLL_ON;
  RCC_OscInitStruct.PLL.PLLSource = RCC_PLLSOURCE_HSE;
  RCC_OscInitStruct.PLL.PLLM = 12;
  RCC_OscInitStruct.PLL.PLLN = 72;
  RCC_OscInitStruct.PLL.PLLP = RCC_PLLP_DIV2;
  RCC_OscInitStruct.PLL.PLLQ = 7;
  if (HAL_RCC_OscConfig(&RCC_OscInitStruct) != HAL_OK)
  {
    Error_Handler();
  }

  /** Initializes the CPU, AHB and APB buses clocks
  */
  RCC_ClkInitStruct.ClockType = RCC_CLOCKTYPE_HCLK|RCC_CLOCKTYPE_SYSCLK
                              |RCC_CLOCKTYPE_PCLK1|RCC_CLOCKTYPE_PCLK2;
  RCC_ClkInitStruct.SYSCLKSource = RCC_SYSCLKSOURCE_PLLCLK;
  RCC_ClkInitStruct.AHBCLKDivider = RCC_SYSCLK_DIV1;
  RCC_ClkInitStruct.APB1CLKDivider = RCC_HCLK_DIV2;
  RCC_ClkInitStruct.APB2CLKDivider = RCC_HCLK_DIV1;

  if (HAL_RCC_ClockConfig(&RCC_ClkInitStruct, FLASH_LATENCY_2) != HAL_OK)
  {
    Error_Handler();
  }
}

static void MX_USART1_UART_Init(void)
{

  huart1.Instance = USART1;
  huart1.Init.BaudRate = 115200;
  huart1.Init.WordLength = UART_WORDLENGTH_8B;
  huart1.Init.StopBits = UART_STOPBITS_1;
  huart1.Init.Parity = UART_PARITY_NONE;
  huart1.Init.Mode = UART_MODE_TX_RX;
  huart1.Init.HwFlowCtl = UART_HWCONTROL_NONE;
  huart1.Init.OverSampling = UART_OVERSAMPLING_16;
  if (HAL_UART_Init(&huart1) != HAL_OK)
  {
    Error_Handler();
  }

}

static void MX_USART2_UART_Init(void)
{

  huart2.Instance = USART2;
  huart2.Init.BaudRate = 115200;
  huart2.Init.WordLength = UART_WORDLENGTH_8B;
  huart2.Init.StopBits = UART_STOPBITS_1;
  huart2.Init.Parity = UART_PARITY_NONE;
  huart2.Init.Mode = UART_MODE_TX_RX;
  huart2.Init.HwFlowCtl = UART_HWCONTROL_NONE;
  huart2.Init.OverSampling = UART_OVERSAMPLING_16;
  if (HAL_UART_Init(&huart2) != HAL_OK)
  {
    Error_Handler();
  }

}

static void MX_GPIO_Init(void)
{
  GPIO_InitTypeDef GPIO_InitStruct = {0};

  /* GPIO Ports Clock Enable */
  __HAL_RCC_GPIOC_CLK_ENABLE();
  __HAL_RCC_GPIOH_CLK_ENABLE();
  __HAL_RCC_GPIOA_CLK_ENABLE();
  __HAL_RCC_GPIOB_CLK_ENABLE();
  __HAL_RCC_GPIOD_CLK_ENABLE();

  /*Configure GPIO pin : B1_Pin */
  GPIO_InitStruct.Pin = B1_Pin;
  GPIO_InitStruct.Mode = GPIO_MODE_IT_FALLING;
  GPIO_InitStruct.Pull = GPIO_NOPULL;
  HAL_GPIO_Init(B1_GPIO_Port, &GPIO_InitStruct);

  /*Configure GPIO pins : PC0 PC1 PC2 PC3
                           PC4 PC5 PC6 PC7
                           PC8 PC9 PC10 PC11
                           PC12 */
  GPIO_InitStruct.Pin = GPIO_PIN_0|GPIO_PIN_1|GPIO_PIN_2|GPIO_PIN_3
                          |GPIO_PIN_4|GPIO_PIN_5|GPIO_PIN_6|GPIO_PIN_7
                          |GPIO_PIN_8|GPIO_PIN_9|GPIO_PIN_10|GPIO_PIN_11
                          |GPIO_PIN_12;
  GPIO_InitStruct.Mode = GPIO_MODE_ANALOG;
  GPIO_InitStruct.Pull = GPIO_NOPULL;
  HAL_GPIO_Init(GPIOC, &GPIO_InitStruct);

  /*Configure GPIO pins : PA0 PA1 PA4 PA5
                           PA6 PA7 PA8 PA11
                           PA12 PA15 */
  GPIO_InitStruct.Pin = GPIO_PIN_0|GPIO_PIN_1|GPIO_PIN_4|GPIO_PIN_5
                          |GPIO_PIN_6|GPIO_PIN_7|GPIO_PIN_8|GPIO_PIN_11
                          |GPIO_PIN_12|GPIO_PIN_15;
  GPIO_InitStruct.Mode = GPIO_MODE_ANALOG;
  GPIO_InitStruct.Pull = GPIO_NOPULL;
  HAL_GPIO_Init(GPIOA, &GPIO_InitStruct);

  /*Configure GPIO pins : PB0 PB1 PB2 PB10
                           PB12 PB13 PB14 PB15
                           PB4 PB5 PB6 PB7
                           PB8 PB9 */
  GPIO_InitStruct.Pin = GPIO_PIN_0|GPIO_PIN_1|GPIO_PIN_2|GPIO_PIN_10
                          |GPIO_PIN_12|GPIO_PIN_13|GPIO_PIN_14|GPIO_PIN_15
                          |GPIO_PIN_4|GPIO_PIN_5|GPIO_PIN_6|GPIO_PIN_7
                          |GPIO_PIN_8|GPIO_PIN_9;
  GPIO_InitStruct.Mode = GPIO_MODE_ANALOG;
  GPIO_InitStruct.Pull = GPIO_NOPULL;
  HAL_GPIO_Init(GPIOB, &GPIO_InitStruct);

  /*Configure GPIO pin : PD2 */
  GPIO_InitStruct.Pin = GPIO_PIN_2;
  GPIO_InitStruct.Mode = GPIO_MODE_ANALOG;
  GPIO_InitStruct.Pull = GPIO_NOPULL;
  HAL_GPIO_Init(GPIOD, &GPIO_InitStruct);

}

void Error_Handler(void)
{
  __disable_irq();
  while (1)
  {
  }
}
